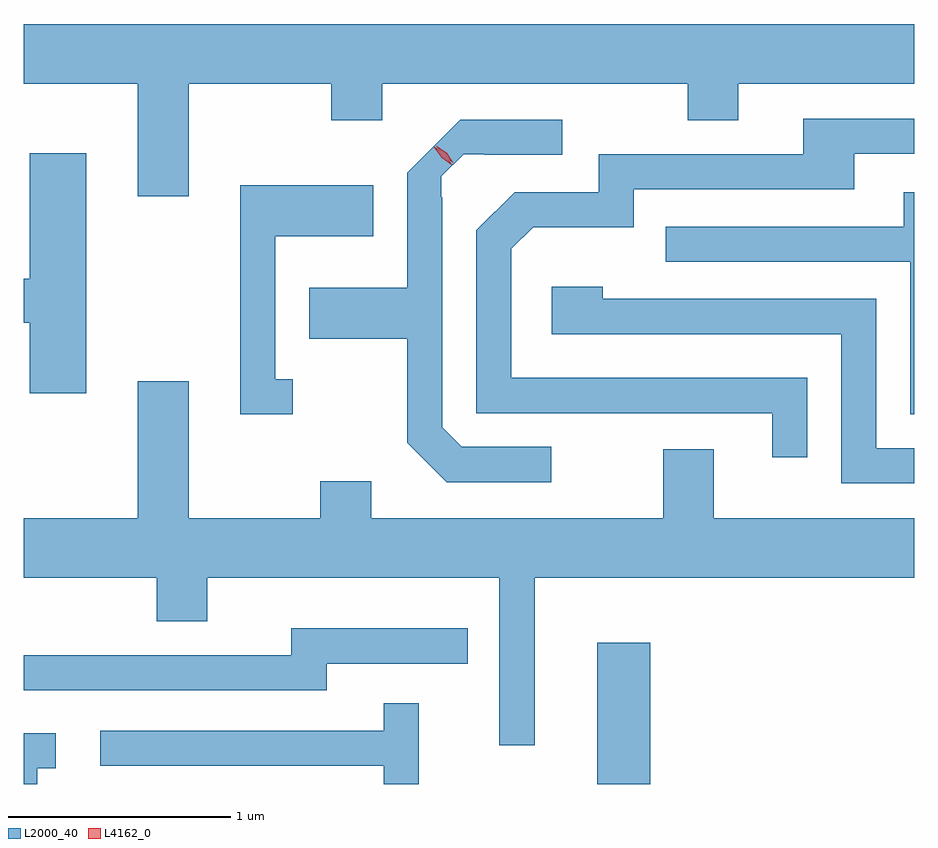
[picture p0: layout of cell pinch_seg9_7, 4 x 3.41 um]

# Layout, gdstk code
import gdstk
lib = gdstk.Library(unit=1e-6, precision=1e-09)
def R(c, l, rs):  # rectangles x0, y0, x1, y1
    for r in rs: c.add(gdstk.rectangle(r[:2], r[2:], *l))
def P(c, l, *ps):  # polygons
    for p in ps: c.add(gdstk.Polygon(p, *l))
L2000_40 = (2000, 40)
L4162_0 = (4162, 0)

pinch_seg9_7 = lib.new_cell('pinch_seg9_7')
R(pinch_seg9_7, L2000_40, [(1841.406,2077.47,1841.644,2078.104)])
P(pinch_seg9_7, L2000_40, [(1839.569,2080.616),(1840.211,2080.616),(1840.211,2080.451),(1840.439,2080.451),(1840.439,2080.616),(1841.811,2080.616),(1841.811,2080.451),(1842.039,2080.451),(1842.039,2080.616),(1842.829,2080.616),(1842.829,2080.884),(1838.829,2080.884),(1838.829,2080.616),(1839.341,2080.616),(1839.341,2080.111),(1839.569,2080.111)],
  [(1842.349,2079.294),(1841.019,2079.294),(1841.019,2079.874),(1841.117,2079.971),(1841.569,2079.971),(1841.569,2080.141),(1842.559,2080.141),(1842.559,2080.301),(1842.829,2080.301),(1842.829,2080.459),(1842.331,2080.459),(1842.331,2080.299),(1841.411,2080.299),(1841.411,2080.129),(1841.034,2080.129),(1840.861,2079.957),(1840.861,2079.136),(1842.191,2079.136),(1842.191,2078.938),(1842.349,2078.938)],
  [(1841.198,2078.984),(1840.797,2078.984),(1840.709,2079.072),(1840.709,2080.105),(1840.705,2080.105),(1840.705,2080.2),(1840.806,2080.3),(1840.9,2080.3),(1840.9,2080.296),(1841.248,2080.296),(1841.248,2080.454),(1840.79,2080.454),(1840.551,2080.216),(1840.551,2079.699),(1840.111,2079.699),(1840.111,2079.471),(1840.551,2079.471),(1840.551,2079.004),(1840.729,2078.826),(1841.198,2078.826)],
  [(1839.109,2080.304),(1838.856,2080.304),(1838.856,2079.739),(1838.829,2079.739),(1838.829,2079.541),(1838.856,2079.541),(1838.856,2079.226),(1839.109,2079.226)],
  [(1840.038,2079.289),(1839.959,2079.289),(1839.959,2079.931),(1840.399,2079.931),(1840.399,2080.159),(1839.801,2080.159),(1839.801,2079.131),(1840.038,2079.131)],
  [(1842.829,2080.129),(1842.781,2080.129),(1842.781,2079.974),(1841.713,2079.974),(1841.713,2079.816),(1842.811,2079.816),(1842.811,2079.131),(1842.829,2079.131)],
  [(1842.829,2078.979),(1842.659,2078.979),(1842.659,2079.649),(1841.429,2079.649),(1841.429,2079.704),(1841.201,2079.704),(1841.201,2079.491),(1842.501,2079.491),(1842.501,2078.821),(1842.829,2078.821)],
  [(1841.124,2078.396),(1842.829,2078.396),(1842.829,2078.664),(1841.929,2078.664),(1841.929,2078.974),(1841.701,2078.974),(1841.701,2078.664),(1840.389,2078.664),(1840.389,2078.829),(1840.161,2078.829),(1840.161,2078.664),(1839.569,2078.664),(1839.569,2079.279),(1839.341,2079.279),(1839.341,2078.664),(1838.829,2078.664),(1838.829,2078.396),(1839.426,2078.396),(1839.426,2078.201),(1839.654,2078.201),(1839.654,2078.396),(1840.966,2078.396),(1840.966,2077.643),(1841.124,2077.643)],
  [(1840.189,2078.011),(1840.823,2078.011),(1840.823,2078.169),(1840.031,2078.169),(1840.031,2078.049),(1838.829,2078.049),(1838.829,2077.891),(1840.189,2077.891)],
  [(1840.604,2077.833),(1840.446,2077.833),(1840.446,2077.709),(1839.173,2077.709),(1839.173,2077.551),(1840.446,2077.551),(1840.446,2077.47),(1840.604,2077.47)],
  [(1838.889,2077.541),(1838.973,2077.541),(1838.973,2077.699),(1838.829,2077.699),(1838.829,2077.47),(1838.889,2077.47)])
P(pinch_seg9_7, L4162_0, [(1840.754,2080.249),(1840.706,2080.284),(1840.671,2080.332),(1840.671,2080.332),(1840.672,2080.332),(1840.72,2080.298),(1840.754,2080.25),(1840.754,2080.249)],
  [(1840.758,2080.26),(1840.713,2080.292),(1840.682,2080.336),(1840.682,2080.337),(1840.683,2080.337),(1840.728,2080.306),(1840.759,2080.261),(1840.759,2080.26)])

lib.write_gds('pinch_seg9_7.gds')
